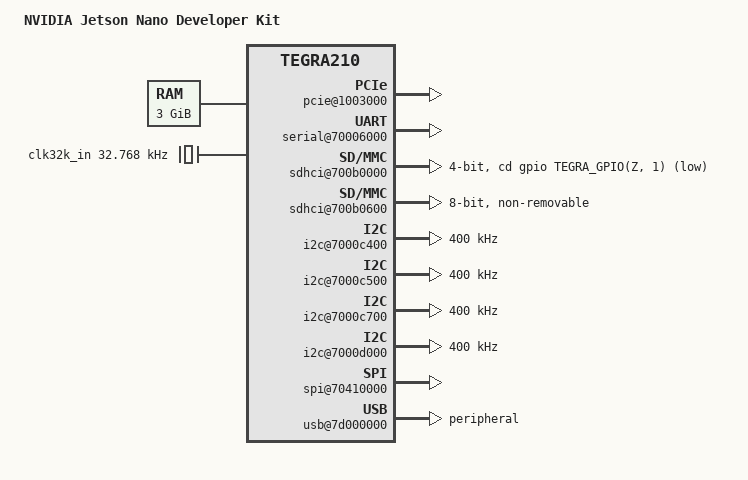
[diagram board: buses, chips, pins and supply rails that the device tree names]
// SPDX-License-Identifier: GPL-2.0+
/*
 *  (C) Copyright 2019-2020 NVIDIA Corporation <www.nvidia.com>
 */
/dts-v1/;

#include "tegra210.dtsi"

/ {
	model = "NVIDIA Jetson Nano Developer Kit";
	compatible = "nvidia,p3450-0000", "nvidia,tegra210";

	chosen {
		stdout-path = &uarta;
	};

	aliases {
		ethernet = "/pcie@1003000/pci@2,0/ethernet@0,0";
		i2c0 = "/i2c@7000d000";
		i2c2 = "/i2c@7000c400";
		i2c3 = "/i2c@7000c500";
		i2c4 = "/i2c@7000c700";
		mmc0 = "/sdhci@700b0600";
		mmc1 = "/sdhci@700b0000";
		spi0 = "/spi@70410000";
		usb0 = "/usb@7d000000";
	};

	memory {
		reg = <0x0 0x80000000 0x0 0xc0000000>;
	};

	pcie@1003000 {
		status = "okay";

		pci@1,0 {
			status = "okay";
		};

		pci@2,0 {
			status = "okay";

			ethernet@0,0 {
				reg = <0x000000 0 0 0 0>;
				local-mac-address = [ 00 00 00 00 00 00 ];
			};
		};
	};

	serial@70006000 {
		status = "okay";
	};

	padctl@7009f000 {
		pinctrl-0 = <&padctl_default>;
		pinctrl-names = "default";

		padctl_default: pinmux {
			xusb {
				nvidia,lanes = "otg-1", "otg-2";
				nvidia,function = "xusb";
				nvidia,iddq = <0>;
			};

			usb3 {
				nvidia,lanes = "pcie-5", "pcie-6";
				nvidia,function = "usb3";
				nvidia,iddq = <0>;
			};

			pcie-x1 {
				nvidia,lanes = "pcie-0";
				nvidia,function = "pcie-x1";
				nvidia,iddq = <0>;
			};

			pcie-x4 {
				nvidia,lanes = "pcie-1", "pcie-2",
					       "pcie-3", "pcie-4";
				nvidia,function = "pcie-x4";
				nvidia,iddq = <0>;
			};

			sata {
				nvidia,lanes = "sata-0";
				nvidia,function = "sata";
				nvidia,iddq = <0>;
			};
		};
	};

	sdhci@700b0000 {
		status = "okay";
		cd-gpios = <&gpio TEGRA_GPIO(Z, 1) GPIO_ACTIVE_LOW>;
		power-gpios = <&gpio TEGRA_GPIO(Z, 3) GPIO_ACTIVE_HIGH>;
		bus-width = <4>;
	};

	sdhci@700b0600 {
		status = "okay";
		bus-width = <8>;
		non-removable;
	};

	i2c@7000c400 {
		status = "okay";
		clock-frequency = <400000>;
	};

	i2c@7000c500 {
		status = "okay";
		clock-frequency = <400000>;
	};

	i2c@7000c700 {
		status = "okay";
		clock-frequency = <400000>;
	};

	i2c@7000d000 {
		status = "okay";
		clock-frequency = <400000>;
	};

	spi@70410000 {
		status = "okay";
		spi-max-frequency = <80000000>;
	};

	usb@7d000000 {
		status = "okay";
		dr_mode = "peripheral";
	};

	clocks {
		compatible = "simple-bus";
		#address-cells = <1>;
		#size-cells = <0>;

		clk32k_in: clock@0 {
			compatible = "fixed-clock";
			reg = <0>;
			#clock-cells = <0>;
			clock-frequency = <32768>;
		};
	};
};
